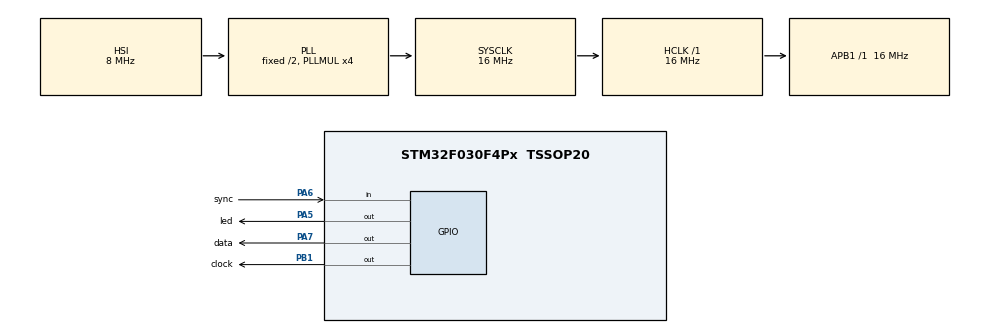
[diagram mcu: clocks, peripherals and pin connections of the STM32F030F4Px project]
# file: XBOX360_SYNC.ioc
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Mcu.Family=STM32F0
Mcu.Name=STM32F030F4Px
Mcu.Package=TSSOP20
PA5.GPIO_Label=led
PA5.GPIO_Speed=GPIO_SPEED_FREQ_LOW
PA5.PinState=GPIO_PIN_RESET
PA5.Signal=GPIO_Output
PA6.GPIO_Label=sync
PA6.GPIO_PuPd=GPIO_PULLUP
PA6.Signal=GPIO_Input
PA7.GPIO_Label=data
PA7.GPIO_ModeDefaultOutputPP=GPIO_MODE_OUTPUT_OD
PA7.GPIO_PuPd=GPIO_PULLUP
PA7.GPIO_Speed=GPIO_SPEED_FREQ_HIGH
PA7.PinState=GPIO_PIN_SET
PA7.Signal=GPIO_Output
PB1.GPIO_Label=clock
PB1.GPIO_ModeDefaultOutputPP=GPIO_MODE_OUTPUT_OD
PB1.GPIO_PuPd=GPIO_PULLUP
PB1.GPIO_Speed=GPIO_SPEED_FREQ_HIGH
PB1.PinState=GPIO_PIN_SET
PB1.Signal=GPIO_Output
ProjectManager.HeapSize=0x200
ProjectManager.StackSize=0x400
ProjectManager.TargetToolchain=STM32CubeIDE
RCC.AHBFreq_Value=16000000
RCC.APB1Freq_Value=16000000
RCC.APB1TimFreq_Value=16000000
RCC.HCLKFreq_Value=16000000
RCC.PLLMUL=RCC_PLL_MUL4
RCC.SYSCLKFreq_VALUE=16000000
RCC.SYSCLKSource=RCC_SYSCLKSOURCE_PLLCLK
board=custom

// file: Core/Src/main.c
/* USER CODE BEGIN Header */
/**
  ******************************************************************************
  * @file           : main.c
  * @brief          : Main program body
  ******************************************************************************
  * @attention
  *
  * Copyright (c) 2023 STMicroelectronics.
  * All rights reserved.
  *
  * This software is licensed under terms that can be found in the LICENSE file
  * in the root directory of this software component.
  * If no LICENSE file comes with this software, it is provided AS-IS.
  *
  ******************************************************************************
  */
/* USER CODE END Header */
#include "main.h"

/* USER CODE BEGIN Includes */
int led_cmd[10] =  {0,0,1,0,0,0,0,1,0,0}; //Activates/initialises the LEDs, leaving the center LED lit.
int anim_cmd[10] = {0,0,1,0,0,0,0,1,0,1}; //Makes the startup animation on the ring of light.
int sync_cmd[10] = {0,0,0,0,0,0,0,1,0,0}; //Initiates the sync process.}
/* USER CODE END Includes */

void SystemClock_Config(void);
static void MX_GPIO_Init(void);

/* USER CODE BEGIN 0 */
void sendData(int cmd_do[]) {
  HAL_GPIO_WritePin(clock_GPIO_Port,clock_Pin, 1);//start sending data.
  int prev = 1;
  for(int i = 0; i < 10; i++){

    while (prev == HAL_GPIO_ReadPin(clock_GPIO_Port, clock_Pin)){} //detects change in clock
    prev = HAL_GPIO_ReadPin(clock_GPIO_Port, clock_Pin);
      // should be after downward edge of clock, so send bit of data now
    HAL_GPIO_WritePin(data_GPIO_Port,data_Pin, cmd_do[i]);

    while (prev == HAL_GPIO_ReadPin(clock_GPIO_Port, clock_Pin)){} //detects upward edge of clock
    prev = HAL_GPIO_ReadPin(clock_GPIO_Port, clock_Pin);
  }
  HAL_GPIO_WritePin(data_GPIO_Port, data_Pin, 0);
  while (prev == HAL_GPIO_ReadPin(clock_GPIO_Port, clock_Pin)){} //detects change in clock
  prev = HAL_GPIO_ReadPin(clock_GPIO_Port, clock_Pin);
  while (prev == HAL_GPIO_ReadPin(clock_GPIO_Port, clock_Pin)){} //detects change in clock
  prev = HAL_GPIO_ReadPin(clock_GPIO_Port, clock_Pin);

  HAL_GPIO_WritePin(data_GPIO_Port, data_Pin, 0);
  HAL_GPIO_WritePin(clock_GPIO_Port,clock_Pin, 0);
}

void initLEDs(){
	sendData(led_cmd);
	HAL_Delay(50);
	sendData(anim_cmd);
	HAL_Delay(50);
}

/* USER CODE END 0 */

int main(void)
{

  /* MCU Configuration--------------------------------------------------------*/

  /* Reset of all peripherals, Initializes the Flash interface and the Systick. */
  HAL_Init();

  /* Configure the system clock */
  SystemClock_Config();

  /* Initialize all configured peripherals */
  MX_GPIO_Init();
  /* USER CODE BEGIN 2 */
  HAL_GPIO_WritePin(clock_GPIO_Port, clock_Pin, 0);
  HAL_GPIO_WritePin(data_GPIO_Port, data_Pin, 0);
  HAL_Delay(500);
  initLEDs();
  HAL_Delay(500);
  /* USER CODE END 2 */

  /* Infinite loop */
  /* USER CODE BEGIN WHILE */
  while (1)
  {
	if(!HAL_GPIO_ReadPin(sync_GPIO_Port, sync_Pin)){
		sendData(sync_cmd);
		HAL_GPIO_WritePin(led_GPIO_Port, led_Pin, 0);
		HAL_Delay(500);
		HAL_GPIO_WritePin(led_GPIO_Port, led_Pin, 1);
	}

    /* USER CODE END WHILE */

  }
}

void SystemClock_Config(void)
{
  RCC_OscInitTypeDef RCC_OscInitStruct = {0};
  RCC_ClkInitTypeDef RCC_ClkInitStruct = {0};

  /** Initializes the RCC Oscillators according to the specified parameters
  * in the RCC_OscInitTypeDef structure.
  */
  RCC_OscInitStruct.OscillatorType = RCC_OSCILLATORTYPE_HSI;
  RCC_OscInitStruct.HSIState = RCC_HSI_ON;
  RCC_OscInitStruct.HSICalibrationValue = RCC_HSICALIBRATION_DEFAULT;
  RCC_OscInitStruct.PLL.PLLState = RCC_PLL_ON;
  RCC_OscInitStruct.PLL.PLLSource = RCC_PLLSOURCE_HSI;
  RCC_OscInitStruct.PLL.PLLMUL = RCC_PLL_MUL4;
  RCC_OscInitStruct.PLL.PREDIV = RCC_PREDIV_DIV1;
  if (HAL_RCC_OscConfig(&RCC_OscInitStruct) != HAL_OK)
  {
    Error_Handler();
  }

  /** Initializes the CPU, AHB and APB buses clocks
  */
  RCC_ClkInitStruct.ClockType = RCC_CLOCKTYPE_HCLK|RCC_CLOCKTYPE_SYSCLK
                              |RCC_CLOCKTYPE_PCLK1;
  RCC_ClkInitStruct.SYSCLKSource = RCC_SYSCLKSOURCE_PLLCLK;
  RCC_ClkInitStruct.AHBCLKDivider = RCC_SYSCLK_DIV1;
  RCC_ClkInitStruct.APB1CLKDivider = RCC_HCLK_DIV1;

  if (HAL_RCC_ClockConfig(&RCC_ClkInitStruct, FLASH_LATENCY_0) != HAL_OK)
  {
    Error_Handler();
  }
}

static void MX_GPIO_Init(void)
{
  GPIO_InitTypeDef GPIO_InitStruct = {0};

  /* GPIO Ports Clock Enable */
  __HAL_RCC_GPIOA_CLK_ENABLE();
  __HAL_RCC_GPIOB_CLK_ENABLE();

  /*Configure GPIO pin Output Level */
  HAL_GPIO_WritePin(led_GPIO_Port, led_Pin, GPIO_PIN_RESET);

  /*Configure GPIO pin Output Level */
  HAL_GPIO_WritePin(data_GPIO_Port, data_Pin, GPIO_PIN_SET);

  /*Configure GPIO pin Output Level */
  HAL_GPIO_WritePin(clock_GPIO_Port, clock_Pin, GPIO_PIN_SET);

  /*Configure GPIO pin : led_Pin */
  GPIO_InitStruct.Pin = led_Pin;
  GPIO_InitStruct.Mode = GPIO_MODE_OUTPUT_PP;
  GPIO_InitStruct.Pull = GPIO_NOPULL;
  GPIO_InitStruct.Speed = GPIO_SPEED_FREQ_LOW;
  HAL_GPIO_Init(led_GPIO_Port, &GPIO_InitStruct);

  /*Configure GPIO pin : sync_Pin */
  GPIO_InitStruct.Pin = sync_Pin;
  GPIO_InitStruct.Mode = GPIO_MODE_INPUT;
  GPIO_InitStruct.Pull = GPIO_PULLUP;
  HAL_GPIO_Init(sync_GPIO_Port, &GPIO_InitStruct);

  /*Configure GPIO pin : data_Pin */
  GPIO_InitStruct.Pin = data_Pin;
  GPIO_InitStruct.Mode = GPIO_MODE_OUTPUT_OD;
  GPIO_InitStruct.Pull = GPIO_PULLUP;
  GPIO_InitStruct.Speed = GPIO_SPEED_FREQ_HIGH;
  HAL_GPIO_Init(data_GPIO_Port, &GPIO_InitStruct);

  /*Configure GPIO pin : clock_Pin */
  GPIO_InitStruct.Pin = clock_Pin;
  GPIO_InitStruct.Mode = GPIO_MODE_OUTPUT_OD;
  GPIO_InitStruct.Pull = GPIO_PULLUP;
  GPIO_InitStruct.Speed = GPIO_SPEED_FREQ_HIGH;
  HAL_GPIO_Init(clock_GPIO_Port, &GPIO_InitStruct);

}

void Error_Handler(void)
{
  __disable_irq();
  while (1)
  {
  }
}
